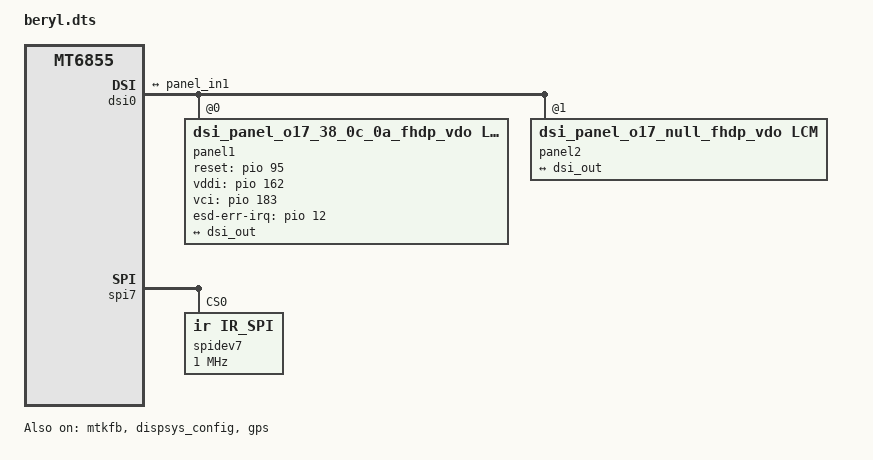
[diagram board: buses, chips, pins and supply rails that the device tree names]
// SPDX-License-Identifier: (GPL-2.0 OR MIT)
/*
 * Copyright (C) 2021 MediaTek Inc.
 */
/dts-v1/;
/plugin/;
#include <dt-bindings/interrupt-controller/arm-gic.h>
#include <dt-bindings/interrupt-controller/irq.h>
#include <dt-bindings/pinctrl/mt6855-pinfunc.h>
#include "mediatek/touchscreen.dtsi"
#include "mediatek/nfc.dtsi"
#include "mediatek/cust_mt6855_fingerprint.dtsi"
#include "mediatek/xiaomi_connectivity.dtsi"

&mtk_leds {
	compatible = "mediatek,disp-leds";

	backlight {
		led_mode = <4>;
		led-bit = <12>;
		trans-bits = <12>;
		gate_enable = <1>;
		max-brightness = <4095>;
		min-brightness = <1>;
		max-hw-brightness = <4095>;
		pwm_config = <0 1 0 0 0>;
	};
};


&pio {
	mtkfb_pins_lcm_led_en1: lcm_led_en1_gpio {
		pins_cmd_dat {
			pinmux = <PINMUX_GPIO161__FUNC_GPIO161>;
			slew-rate = <1>;
			output-high;
		};
	};

	mtkfb_pins_lcm_led_en0: lcm_led_en0_gpio {
		pins_cmd_dat {
			pinmux = <PINMUX_GPIO161__FUNC_GPIO161>;
			slew-rate = <1>;
			output-low;
		};
	};

	mtkfb_pins_lcm_rst_out1_gpio: lcm_rst_out1_gpio {
		pins_cmd_dat {
			pinmux = <PINMUX_GPIO95__FUNC_GPIO95>;
			slew-rate = <1>;
			output-high;
		};
	};

	mtkfb_pins_lcm_rst_out0_gpio: lcm_rst_out0_gpio {
		pins_cmd_dat {
			pinmux = <PINMUX_GPIO95__FUNC_GPIO95>;
			slew-rate = <1>;
			output-low;
		};
	};

	mtkfb_pins_lcm_dsi_te: lcm_dsi_te {
		pins_cmd_dat {
			pinmux = <PINMUX_GPIO94__FUNC_DSI_TE>;
		};
	};

	mtkfb_pins_lcm_vddi18_out0: lcm_vddi18_out0_gpio {
		pins_cmd_dat {
			pinmux = <PINMUX_GPIO162__FUNC_GPIO162>;
			slew-rate = <1>;
			output-low;
		};
	};

	mtkfb_pins_lcm_vddi18_out1: lcm_vddi18_out1_gpio {
		pins_cmd_dat {
			pinmux = <PINMUX_GPIO162__FUNC_GPIO162>;
			slew-rate = <1>;
			output-high;
		};
	};

	mtkfb_pins_lcm_vci3_out0: lcm_vci3_out0_gpio {
		pins_cmd_dat {
			pinmux = <PINMUX_GPIO183__FUNC_GPIO183>;
			slew-rate = <1>;
			output-low;
		};
	};

	mtkfb_pins_lcm_vci3_out1: lcm_vci3_out1_gpio {
		pins_cmd_dat {
			pinmux = <PINMUX_GPIO183__FUNC_GPIO183>;
			slew-rate = <1>;
			output-high;
		};
	};

	mtkfb_pins_lcm_err_flag: lcm_err_flag {
		pins_cmd_dat {
			pinmux = <PINMUX_GPIO12__FUNC_GPIO12>;
			slew-rate = <0>;
			bias-disable;
		};
	};
};

&mtkfb {
	pinctrl-names = "lcm_led_en1_gpio", "lcm_led_en0_gpio",
		"lcm_rst_out1_gpio", "lcm_rst_out0_gpio",
		"mode_te_te", "lcm_vddi18_out0_gpio",
		"lcm_vddi18_out1_gpio", "lcm_vci3_out0_gpio",
		"lcm_vci3_out1_gpio","err_flag_init";
	pinctrl-0 = <&mtkfb_pins_lcm_led_en1>;
	pinctrl-1 = <&mtkfb_pins_lcm_led_en0>;
	pinctrl-2 = <&mtkfb_pins_lcm_rst_out1_gpio>;
	pinctrl-3 = <&mtkfb_pins_lcm_rst_out0_gpio>;
	pinctrl-4 = <&mtkfb_pins_lcm_dsi_te>;
	pinctrl-5 = <&mtkfb_pins_lcm_vddi18_out0>;
	pinctrl-6 = <&mtkfb_pins_lcm_vddi18_out1>;
	pinctrl-7 = <&mtkfb_pins_lcm_vci3_out0>;
	pinctrl-8 = <&mtkfb_pins_lcm_vci3_out1>;
	pinctrl-9 = <&mtkfb_pins_lcm_err_flag>;
	status = "okay";
};

&dispsys_config {
	pinctrl-names =
		"lcm_rst_out1_gpio", "lcm_rst_out0_gpio",
		"mode_te_te", "lcm_vddi18_out0_gpio",
		"lcm_vddi18_out1_gpio", "lcm_vci3_out0_gpio",
		"lcm_vci3_out1_gpio","err_flag_init";
	pinctrl-0 = <&mtkfb_pins_lcm_rst_out1_gpio>;
	pinctrl-1 = <&mtkfb_pins_lcm_rst_out0_gpio>;
	pinctrl-2 = <&mtkfb_pins_lcm_dsi_te>;
	pinctrl-3 = <&mtkfb_pins_lcm_vddi18_out0>;
	pinctrl-4 = <&mtkfb_pins_lcm_vddi18_out1>;
	pinctrl-5 = <&mtkfb_pins_lcm_vci3_out0>;
	pinctrl-6 = <&mtkfb_pins_lcm_vci3_out1>;
	pinctrl-7 = <&mtkfb_pins_lcm_err_flag>;
	status = "okay";
};

&dsi0 {
	status = "okay";
	#address-cells = <1>;
	#size-cells = <0>;
	switch_fps = <60>;
	panel1@0 {
		compatible = "dsi_panel_o17_38_0c_0a_fhdp_vdo,lcm";
		reg = <0>;
		reset-gpios = <&pio 95 0>;
		vddi-gpios = <&pio 162 0>;
		vci-gpios = <&pio 183 0>;
		//pinctrl-names = "default";
		mi,esd-err-irq-gpio = <&pio 12 0x2002>;
		port {
			panel_in1: endpoint {
				remote-endpoint = <&dsi_out>;
			};
		};
	};
	panel2@0 {
		compatible = "dsi_panel_o17_null_fhdp_vdo,lcm";
		reg = <1>;
		pinctrl-names = "default";
		port {
			panel_in2: endpoint {
				remote-endpoint = <&dsi_out>;
			};
		};
	};
	ports {
		port {
			dsi_out: endpoint {
				remote-endpoint = <&panel_in1>;
			};
		};
	};
};


&mtee_svp {
        mtee: MTEE {
                compatible = "mediatek,mtk_svp_on_mtee_support";
        };
        svp: SecureVideoPath {
                compatible = "mediatek,mtk_sec_video_path_support";
        };
};

&memory_ssmr_features {
        svp-region-based-size = <0 0x2000000>;
        svp-page-based-size = <0 0x14000000>;
};

/* GPS GPIO standardization start */
&pio {
	gps_pins_default: gps_default {
	};
	gps_l1_lna_pins_ol: gps_l1_lna@0 {
		pins_cmd_dat {
			pinmux = <PINMUX_GPIO133__FUNC_GPIO133>;
			output-low;
		};
	};
	gps_l1_lna_pins_dsp_ctrl: gps_l1_lna@1 {
		pins_cmd_dat {
			pinmux = <PINMUX_GPIO133__FUNC_GPS_L1_ELNA_EN>;
		};
	};
	gps_l1_lna_pins_oh: gps_l1_lna@2 {
		pins_cmd_dat {
			pinmux = <PINMUX_GPIO133__FUNC_GPIO133>;
			output-high;
		};
	};
	gps_l5_lna_pins_ol: gps_l5_lna@0 {
		pins_cmd_dat {
			pinmux = <PINMUX_GPIO134__FUNC_GPIO134>;
			output-low;
		};
	};
	gps_l5_lna_pins_dsp_ctrl: gps_l5_lna@1 {
		pins_cmd_dat {
			pinmux = <PINMUX_GPIO134__FUNC_GPS_L5_ELNA_EN>;
		};
	};
	gps_l5_lna_pins_oh: gps_l5_lna@2 {
		pins_cmd_dat {
			pinmux = <PINMUX_GPIO134__FUNC_GPIO134>;
			output-high;
		};
	};
};
&gps {
	pinctrl-names = "default",
		"gps_l1_lna_disable",
		"gps_l1_lna_dsp_ctrl",
		"gps_l1_lna_enable",
		"gps_l5_lna_disable",
		"gps_l5_lna_dsp_ctrl",
		"gps_l5_lna_enable";
	pinctrl-0 = <&gps_pins_default>;
	pinctrl-1 = <&gps_l1_lna_pins_ol>;
	pinctrl-2 = <&gps_l1_lna_pins_dsp_ctrl>;
	pinctrl-3 = <&gps_l1_lna_pins_oh>;
	pinctrl-4 = <&gps_l5_lna_pins_ol>;
	pinctrl-5 = <&gps_l5_lna_pins_dsp_ctrl>;
	pinctrl-6 = <&gps_l5_lna_pins_oh>;
	status = "okay";
};
/* GPS GPIO standardization end */

/* ir start */
&spi7 {
	status = "okay";
	spidev7: spi@7 {
		compatible = "ir,ir_spi";
		reg = <0>;
		spi-max-frequency = <1000000>;
		spi-cpol;
	};
};
/* ir end */

#include "mediatek/cust_mt6855_touch_1080x2400.dtsi"
#include "mediatek/cust_mt6855_camera_v4l2.dtsi"

&i2c6 {
	spk: speaker_amp@5c {
		compatible = "richtek,rt5512";
		#sound-dai-cells = <0>;
		reg = <0x5c>;
		status = "disabled";
		sound-name-prefix = "Left";
	};
};

&sound {
	mediatek,spk-i2s = <3 0>;
//	mediatek,speaker-codec {
//		sound-dai = <&spk>;
//	};
};

&pdc {
	pd_vbus_upper_bound = <9000000>;
};

#include "mediatek/cust_mt6855_audio_sia81xx.dtsi"
#include "mediatek/cust_mt6855_audio_fs1xxx.dtsi"
#include <beryl/cust.dtsi>
#include "mediatek/sc8541.dtsi"
#include "mediatek/nu2115.dtsi"
#include "mediatek/auth_battery.dtsi"
/*End of this file, DO NOT ADD ANYTHING HERE*/
